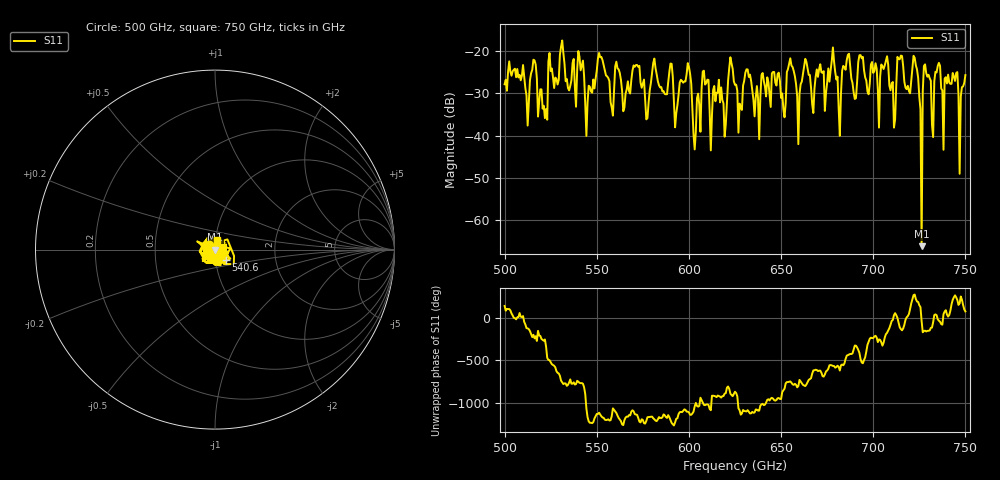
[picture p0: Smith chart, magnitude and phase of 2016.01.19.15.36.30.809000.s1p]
!Created with skrf (http://scikit-rf.org).
# GHz S RI R 50.0
!freq ReS11 ImS11
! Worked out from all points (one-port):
!   401 points, 500 GHz to 750 GHz, reference 50 ohm
!   lowest |S11| = -66.1 dB at 726.2 GHz (marker M1), VSWR 1.00, Z = 50 - j0.029 ohm
!   |S11| at or under -10 dB: start of sweep to end of sweep
!   S11 on the Smith chart (normalised r, x): 500 GHz: 0.94, +0.04; 540.6 GHz: 1.12, -0.13; 750 GHz: 1.01, +0.10
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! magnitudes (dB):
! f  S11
! 500 GHz  -27.9
! 512.5 GHz  -37.6
! 515.6 GHz  -22.1
! 521.9 GHz  -35.9
! 531.2 GHz  -17.6
! 534.4 GHz  -28.8
! 540.6 GHz  -21.4
! 545 GHz  -32.3
! 551.9 GHz  -21.5
! 558.1 GHz  -33.3
! 562.5 GHz  -25.3
! 577.5 GHz  -35.9
! 590 GHz  -23.0
! 593.8 GHz  -32.8
! 625 GHz  -28.0
! 651.2 GHz  -33.8
! 656.2 GHz  -23.8
! 659.4 GHz  -42.0
! 663.1 GHz  -21.9
! 678.1 GHz  -19.2
! 681.2 GHz  -33.6
! 687.5 GHz  -23.7
! 718.8 GHz  -28.3
! 723.1 GHz  -23.5
! 726.2 GHz  -66.1
! 728.8 GHz  -25.3
! 747.5 GHz  -30.8
! 750 GHz  -25.7
